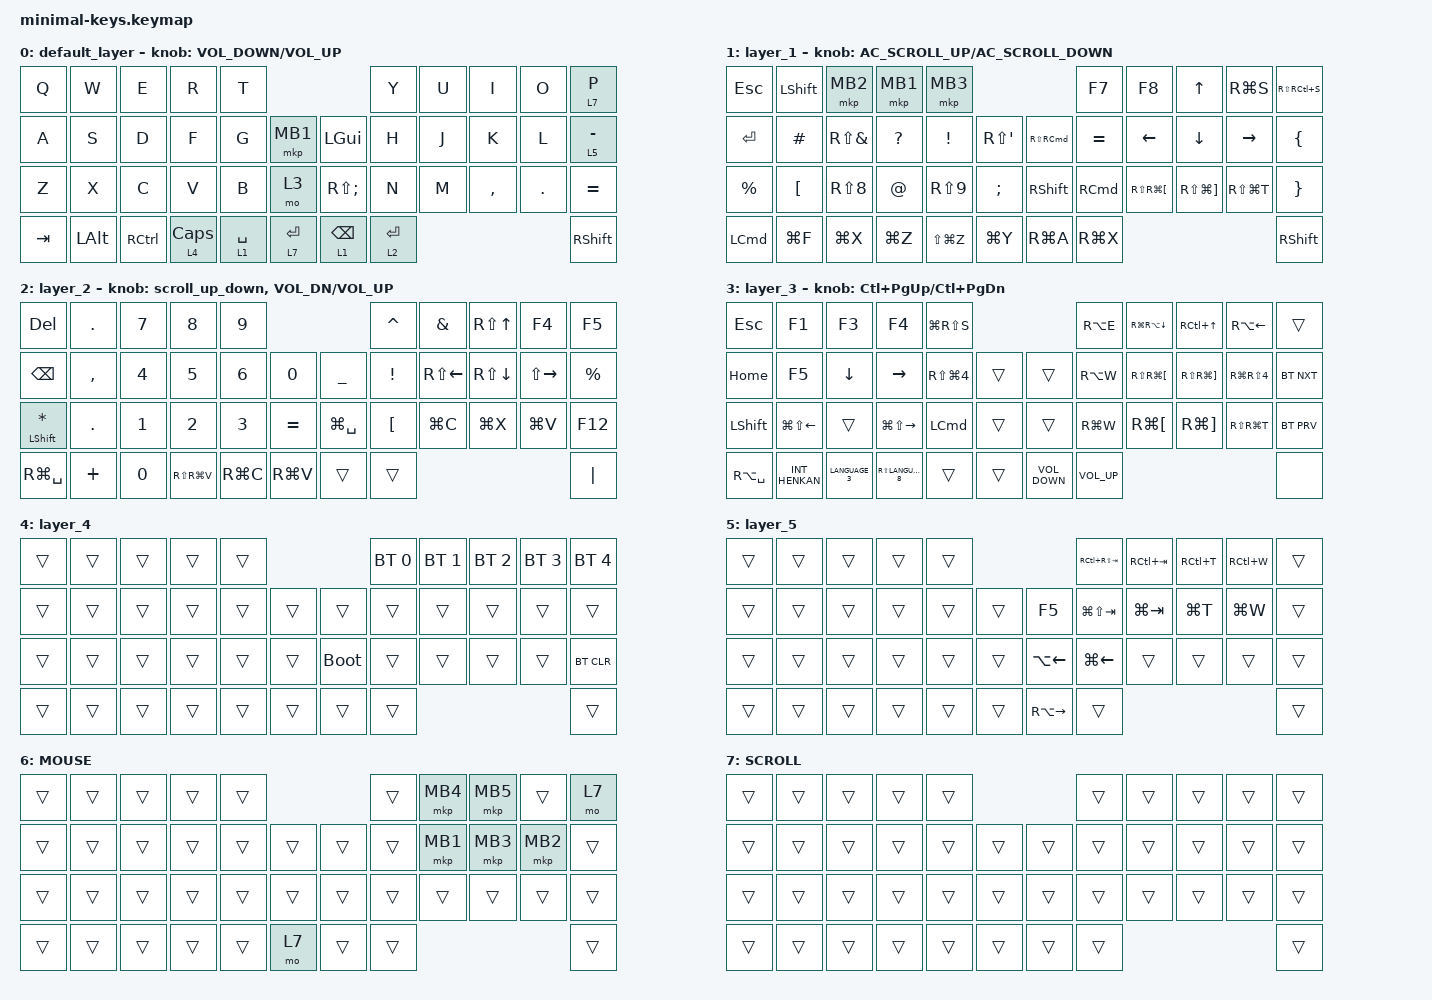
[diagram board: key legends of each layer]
#include <behaviors.dtsi>
#include <dt-bindings/zmk/bt.h>
#include <dt-bindings/zmk/keys.h>
#include <dt-bindings/zmk/pointing.h>

/* マウス関連の定数定義 */

#undef ZMK_POINTING_DEFAULT_SCRL_VAL

#define ZMK_POINTING_DEFAULT_SCRL_VAL 100
#define MOUSE 6
#define SCROLL 7

&mt {
    flavor = "balanced";
    quick-tap-ms = <0>;
};

/ {
    combos { compatible = "zmk,combos"; };

    macros {
        to_layer_0: to_layer_0 {
            compatible = "zmk,behavior-macro-one-param";
            #binding-cells = <1>;
            bindings = <&to 0 &macro_param_1to1 &kp MACRO_PLACEHOLDER>;
            label = "TO_LAYER_0";
        };
    };

    zip_scroll_on_layer_3: zip_scroll_on_layer_3 {
        compatible = "zmk,input-processor-intercept-layer";
        #input-processor-cells = <2>;
        intercept-layer = <3>;
        processor = <&zip_xy_to_scroll>;
    };

    zip_xy_to_scroll: zip_xy_to_scroll {
        compatible = "zmk,input-processor-xy-to-scroll";
        #input-processor-cells = <0>;
    };

    behaviors {
        lt_to_layer_0: lt_to_layer_0 {
            compatible = "zmk,behavior-hold-tap";
            label = "LAYER_TAP_TO_0";
            bindings = <&mo>, <&to_layer_0>;

            #binding-cells = <2>;
            tapping-term-ms = <200>;
        };

        scroll_up_down: behavior_sensor_rotate_mouse_wheel_up_down {
            compatible = "zmk,behavior-sensor-rotate";
            #sensor-binding-cells = <0>;
            bindings = <&msc SCRL_UP>, <&msc SCRL_DOWN>;

            tap-ms = <20>;
        };

        scroll: scroll {
            compatible = "zmk,behavior-sensor-rotate";
            label = "SCROLL";
            #sensor-binding-cells = <0>;
            bindings = <&msc SCRL_DOWN>, <&msc SCRL_UP>;
        };
    };

    keymap {
        compatible = "zmk,keymap";

        default_layer {
            bindings = <
&kp Q    &kp W         &kp E              &kp R       &kp T                                          &kp Y         &kp U  &kp I      &kp O    &lt 7 P
&kp A    &kp S         &kp D              &kp F       &kp G        &mkp MB1       &kp LEFT_GUI       &kp H         &kp J  &kp K      &kp L    &lt 5 MINUS
&kp Z    &kp X         &kp C              &kp V       &kp B        &mo 3          &kp RS(SEMICOLON)  &kp N         &kp M  &kp COMMA  &kp DOT  &kp EQUAL
&kp TAB  &kp LEFT_ALT  &kp RIGHT_CONTROL  &lt 4 CAPS  &lt 1 SPACE  &lt 7 ENTER    &lt 1 BACKSPACE    &lt 2 RETURN                             &kp RIGHT_SHIFT
            >;

            sensor-bindings = <&inc_dec_kp C_VOLUME_DOWN C_VOLUME_UP>;
        };

        layer_1 {
            bindings = <
&kp ESCAPE        &kp LEFT_SHIFT    &mkp MB2           &mkp MB1      &mkp MB3                                          &kp F7     &kp F8                    &kp UP_ARROW               &kp RG(S)        &kp RS(RC(S))
&kp RET           &kp HASH          &kp RS(AMPERSAND)  &kp QUESTION  &kp EXCLAMATION  &kp RS(APOS)    &kp RS(RCMD)     &kp EQUAL  &kp LEFT_ARROW            &kp DOWN_ARROW             &kp RIGHT_ARROW  &kp LEFT_BRACE
&kp PERCENT       &kp LEFT_BRACKET  &kp RS(N8)         &kp AT        &kp RS(N9)       &kp SEMI        &kp RIGHT_SHIFT  &kp RCMD   &kp RS(RG(LEFT_BRACKET))  &kp RS(LG(RIGHT_BRACKET))  &kp RS(LG(T))    &kp RIGHT_BRACE
&kp LEFT_COMMAND  &kp LG(F)         &kp LG(X)          &kp LG(Z)     &kp LS(LG(Z))    &kp LG(Y)       &kp RG(A)        &kp RG(X)                                                                        &kp RIGHT_SHIFT
            >;

            sensor-bindings = <&inc_dec_kp C_AC_SCROLL_UP C_AC_SCROLL_DOWN>;
        };

        layer_2 {
            bindings = <
&kp DEL               &kp PERIOD  &kp NUMBER_7  &kp NUMBER_8   &kp NUMBER_9                                  &kp CARET         &kp AMPERSAND       &kp RS(UP_ARROW)    &kp F4               &kp F5
&kp BACKSPACE         &kp COMMA   &kp NUMBER_4  &kp NUMBER_5   &kp NUMBER_6  &kp NUMBER_0    &kp UNDERSCORE  &kp EXCLAMATION   &kp RS(LEFT_ARROW)  &kp RS(DOWN_ARROW)  &kp LS(RIGHT_ARROW)  &kp PERCENT
&mt LEFT_SHIFT ASTRK  &kp PERIOD  &kp NUMBER_1  &kp NUMBER_2   &kp NUMBER_3  &kp EQUAL       &kp LG(SPACE)   &kp LEFT_BRACKET  &kp LG(C)           &kp LG(X)           &kp LG(V)            &kp F12
&kp RG(SPACE)         &kp PLUS    &kp NUMBER_0  &kp RS(RG(V))  &kp RG(C)     &kp RG(V)       &trans          &trans                                                                         &kp PIPE
            >;

            sensor-bindings =
                <&scroll_up_down>,
                <&inc_dec_kp C_VOL_DN C_VOL_UP>;
        };

        layer_3 {
            bindings = <
&kp ESCAPE      &kp F1                  &kp F3          &kp F4                   &kp LG(RS(S))                                      &kp RA(E)        &kp RG(RA(DOWN_ARROW))    &kp RC(UP_ARROW)           &kp RA(LEFT_ARROW)    &trans
&kp HOME        &kp F5                  &kp DOWN_ARROW  &kp RIGHT_ARROW          &kp RS(LG(NUMBER_4))  &trans    &trans             &kp RA(W)        &kp RS(RG(LEFT_BRACKET))  &kp RS(RG(RIGHT_BRACKET))  &kp RG(RS(NUMBER_4))  &bt BT_NXT
&kp LEFT_SHIFT  &kp LG(LS(LEFT_ARROW))  &trans          &kp LG(LS(RIGHT_ARROW))  &kp LEFT_COMMAND      &trans    &trans             &kp RG(W)        &kp RG(LEFT_BRACKET)      &kp RG(RIGHT_BRACKET)      &kp RS(RG(T))         &bt BT_PRV
&kp RA(SPACE)   &kp INT_HENKAN          &kp LANGUAGE_3  &kp RS(LANGUAGE_8)       &trans                &trans    &kp C_VOLUME_DOWN  &kp C_VOLUME_UP                                                                             &none
            >;

            sensor-bindings = <&inc_dec_kp LC(PAGE_UP) LC(PAGE_DOWN)>;
        };

        layer_4 {
            bindings = <
&trans  &trans  &trans  &trans  &trans                         &bt BT_SEL 0  &bt BT_SEL 1  &bt BT_SEL 2  &bt BT_SEL 3  &bt BT_SEL 4
&trans  &trans  &trans  &trans  &trans  &trans    &trans       &trans        &trans        &trans        &trans        &trans
&trans  &trans  &trans  &trans  &trans  &trans    &bootloader  &trans        &trans        &trans        &trans        &bt BT_CLR
&trans  &trans  &trans  &trans  &trans  &trans    &trans       &trans                                                  &trans
            >;
        };

        layer_5 {
            bindings = <
&trans  &trans  &trans  &trans  &trans                                 &kp RC(RS(TAB))     &kp RC(TAB)  &kp RC(T)  &kp RC(W)  &trans
&trans  &trans  &trans  &trans  &trans  &trans    &kp F5               &kp LG(LS(TAB))     &kp LG(TAB)  &kp LG(T)  &kp LG(W)  &trans
&trans  &trans  &trans  &trans  &trans  &trans    &kp LA(LEFT_ARROW)   &kp LG(LEFT_ARROW)  &trans       &trans     &trans     &trans
&trans  &trans  &trans  &trans  &trans  &trans    &kp RA(RIGHT_ARROW)  &trans                                                 &trans
            >;
        };

        MOUSE {
            bindings = <
&trans  &trans  &trans  &trans  &trans                    &trans  &mkp MB4  &mkp MB5  &trans    &mo 7
&trans  &trans  &trans  &trans  &trans  &trans    &trans  &trans  &mkp MB1  &mkp MB3  &mkp MB2  &trans
&trans  &trans  &trans  &trans  &trans  &trans    &trans  &trans  &trans    &trans    &trans    &trans
&trans  &trans  &trans  &trans  &trans  &mo 7     &trans  &trans                                &trans
            >;
        };

        SCROLL {
            bindings = <
&trans  &trans  &trans  &trans  &trans                    &trans  &trans  &trans  &trans  &trans
&trans  &trans  &trans  &trans  &trans  &trans    &trans  &trans  &trans  &trans  &trans  &trans
&trans  &trans  &trans  &trans  &trans  &trans    &trans  &trans  &trans  &trans  &trans  &trans
&trans  &trans  &trans  &trans  &trans  &trans    &trans  &trans                          &trans
            >;
        };
    };
};
